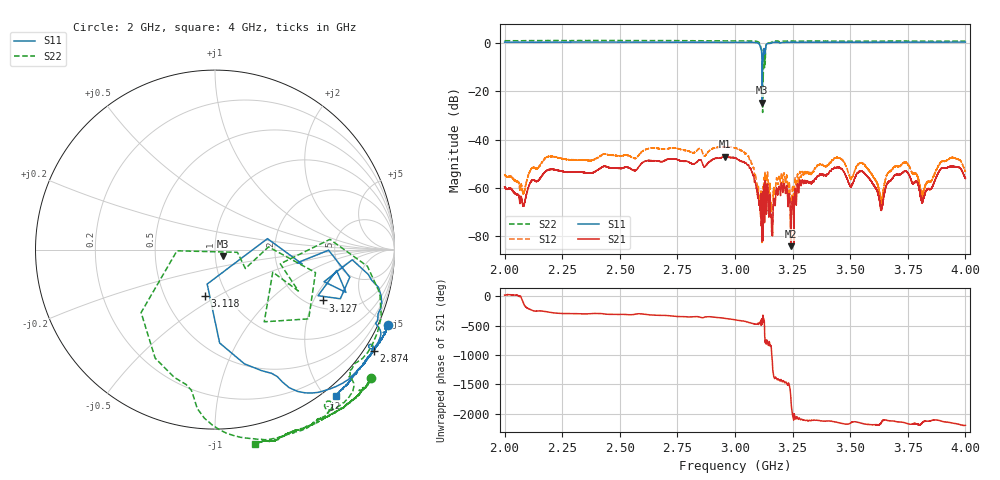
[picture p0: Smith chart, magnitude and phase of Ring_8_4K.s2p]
!Agilent Technologies,N5230C,SG49000117,A.08.50.07
!Agilent N5230C: A.08.50.07
!Date: Tuesday, May 07, 2024 00:26:59
!Correction: S11(Full 2 Port(1,2))
!S21(Full 2 Port(1,2))
!S12(Full 2 Port(1,2))
!S22(Full 2 Port(1,2))
!S2P File: Measurements: S11, S21, S12, S22:
# Hz S  MA  R 50
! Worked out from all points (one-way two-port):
!   20001 points, 2 GHz to 4 GHz, reference 50 ohm
!   highest |S21| = -47.09 dB at 2.957 GHz (marker M1); lowest = -84.3 dB at 3.242 GHz (marker M2)
!   lowest |S11| = -24.7 dB at 3.119 GHz (marker M3), VSWR 1.12, Z = 54.6 - j3.97 ohm
!   |S11| at or under -10 dB: 3.11763 GHz to 3.119365 GHz (1.735 MHz wide, 0.0556 % of centre)
!   |S22| runs from -28.7 to 1.1 dB; largest |S21 - S12| = 0.0038
!   S11 on the Smith chart (normalised r, x): 2 GHz: -0.59, -4.71; 2.874 GHz: -0.30, -3.39; 3.118 GHz: 0.79, -0.44; 3.127 GHz: 2.34, -2.38; 4 GHz: -0.15, -2.12
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2e9  1.052 -23.6  0.001048 20.0  0.001902 1.4  1.127 -39.4
2.0825e9  1.05 -24.3  0.0004272 -121.1  0.0007389 -139.2  1.128 -40.3
2.1833e9  1.048 -24.9  0.002273 97.3  0.004315 78.2  1.135 -41.7
2.3334e9  1.058 -26.5  0.002137 62.3  0.003809 42.7  1.134 -44.5
2.6667e9  1.053 -29.6  0.003579 35.5  0.006539 11.7  1.133 -50.1
2.8736e9  1.049 -32.6  0.002899 11.4  0.004826 -13.4  1.122 -55.2
2.9568e9  1.046 -34.5  0.004422 -15.5  0.007039 -41.1  1.116 -57.9
3e9  1.043 -35.8  0.004146 -39.8  0.006683 -65.3  1.117 -60.0
3.0981e9  1.016 -49.1  0.0006366 -114.4  0.0009047 -142.9  1.078 -78.1
3.1178e9  0.2642 -102.0  0.000291 -26.1  0.0002577 -32.4  0.5742 -135.5
3.1185e9  0.05832 -38.4  0.0003747 -36.9  0.0003689 -38.4  0.4356 -151.7
3.1268e9  0.6661 -25.2  0.0005661 -58.9  0.0008749 -72.3  0.5489 -52.7
3.1427e9  0.9774 -21.6  0.001026 -88.6  0.00181 -105.5  1.011 -38.2
3.2422e9  1.045 -34.4  6.12e-05 65.6  0.0001259 30.1  1.111 -57.4
3.3334e9  1.047 -37.2  0.001279 48.4  0.002001 24.8  1.112 -61.5
3.55e9  1.045 -41.4  0.002215 -3.4  0.003292 -30.4  1.1 -68.3
3.6348e9  1.048 -43.6  0.0003587 5.9  0.0005172 -13.5  1.106 -70.4
3.6667e9  1.049 -44.1  0.001338 41.7  0.002093 14.0  1.108 -71.5
3.7428e9  1.053 -45.7  0.002205 -1.2  0.003298 -30.7  1.109 -73.3
3.8131e9  1.05 -46.9  0.0005006 10.0  0.0006852 -19.0  1.098 -75.1
3.8982e9  1.05 -48.4  0.002559 31.7  0.003537 3.8  1.101 -76.6
4e9  1.055 -50.4  0.001567 -37.2  0.002185 -67.2  1.108 -78.3
